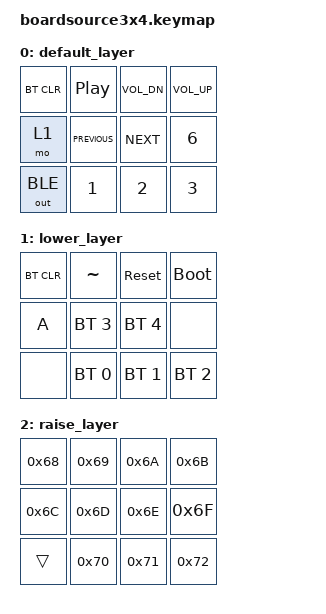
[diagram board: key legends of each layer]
/*
 * Copyright (c) 2020 The ZMK Contributors
 *
 * SPDX-License-Identifier: MIT
 */

#include <behaviors.dtsi>
#include <dt-bindings/zmk/keys.h>
#include <dt-bindings/zmk/bt.h>
#include <dt-bindings/zmk/outputs.h>


/ {
    keymap {
        compatible = "zmk,keymap";

        default_layer {
            bindings = <
    &bt BT_CLR  &kp C_PLAY_PAUSE  &kp C_VOL_DN &kp C_VOL_UP
    &mo 1   &kp C_PREVIOUS &kp C_NEXT &kp N6
    &out OUT_BLE &kp N1 &kp N2 &kp N3
            >;
        };

        lower_layer {
            bindings = <
    &bt BT_CLR   &kp TILDE   &sys_reset       &bootloader
    &kp A     &bt BT_SEL 3 &bt BT_SEL 4 &none
    &none      &bt BT_SEL 0 &bt BT_SEL 1 &bt BT_SEL 2
            >;
        };

        raise_layer {
            bindings = <
    &kp 0x68 &kp 0x69 &kp 0x6A &kp 0x6B
    &kp 0x6C &kp 0x6D &kp 0x6E &kp 0x6F
    &trans   &kp 0x70 &kp 0x71 &kp 0x72
            >;
        };
    };
};
